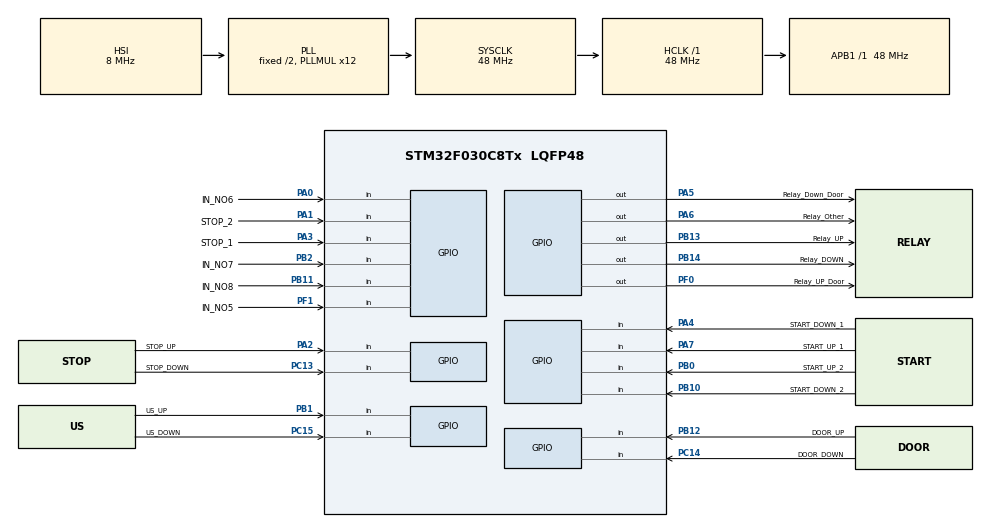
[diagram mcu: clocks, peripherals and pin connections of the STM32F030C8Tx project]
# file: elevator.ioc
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IWDG.Prescaler=IWDG_PRESCALER_256
Mcu.Family=STM32F0
Mcu.Name=STM32F030C8Tx
Mcu.Package=LQFP48
NVIC.TIM3_IRQn=true\:0\:0\:false\:false\:true\:true\:true
PA0.GPIO_Label=IN_NO6
PA0.Signal=GPIO_Input
PA1.GPIO_Label=STOP_2
PA1.Signal=GPIO_Input
PA13.Mode=Serial_Wire
PA13.Signal=SYS_SWDIO
PA14.Mode=Serial_Wire
PA14.Signal=SYS_SWCLK
PA2.GPIO_Label=STOP_UP
PA2.Signal=GPIO_Input
PA3.GPIO_Label=STOP_1
PA3.Signal=GPIO_Input
PA4.GPIO_Label=START_DOWN_1
PA4.Signal=GPIO_Input
PA5.GPIO_Label=Relay_Down_Door
PA5.Signal=GPIO_Output
PA6.GPIO_Label=Relay_Other
PA6.Signal=GPIO_Output
PA7.GPIO_Label=START_UP_1
PA7.Signal=GPIO_Input
PB0.GPIO_Label=START_UP_2
PB0.Signal=GPIO_Input
PB1.GPIO_Label=US_UP
PB1.Signal=GPIO_Input
PB10.GPIO_Label=START_DOWN_2
PB10.Signal=GPIO_Input
PB11.GPIO_Label=IN_NO8
PB11.Signal=GPIO_Input
PB12.GPIO_Label=DOOR_UP
PB12.Signal=GPIO_Input
PB13.GPIO_Label=Relay_UP
PB13.Signal=GPIO_Output
PB14.GPIO_Label=Relay_DOWN
PB14.Signal=GPIO_Output
PB2.GPIO_Label=IN_NO7
PB2.Signal=GPIO_Input
PC13.GPIO_Label=STOP_DOWN
PC13.Signal=GPIO_Input
PC14-OSC32_IN.GPIO_Label=DOOR_DOWN
PC14-OSC32_IN.Signal=GPIO_Input
PC15-OSC32_OUT.GPIO_Label=US_DOWN
PC15-OSC32_OUT.Signal=GPIO_Input
PF0-OSC_IN.GPIO_Label=Relay_UP_Door
PF0-OSC_IN.Signal=GPIO_Output
PF1-OSC_OUT.GPIO_Label=IN_NO5
PF1-OSC_OUT.Signal=GPIO_Input
ProjectManager.HeapSize=0x200
ProjectManager.StackSize=0x400
ProjectManager.TargetToolchain=MDK-ARM V5.27
RCC.AHBFreq_Value=48000000
RCC.APB1Freq_Value=48000000
RCC.APB1TimFreq_Value=48000000
RCC.HCLKFreq_Value=48000000
RCC.PLLMUL=RCC_PLL_MUL12
RCC.SYSCLKFreq_VALUE=48000000
RCC.SYSCLKSource=RCC_SYSCLKSOURCE_PLLCLK
TIM3.AutoReloadPreload=TIM_AUTORELOAD_PRELOAD_ENABLE
TIM3.Period=48-1
TIM3.Prescaler=1000-1
VP_IWDG_VS_IWDG.Mode=IWDG_Activate
VP_TIM3_VS_ClockSourceINT.Mode=Internal
board=custom

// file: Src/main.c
/* USER CODE BEGIN Header */
/**
  ******************************************************************************
  * @file           : main.c
  * @brief          : Main program body
  ******************************************************************************
  * @attention
  *
  * <h2><center>&copy; Copyright (c) 2021 STMicroelectronics.
  * All rights reserved.</center></h2>
  *
  * This software component is licensed by ST under BSD 3-Clause license,
  * the "License"; You may not use this file except in compliance with the
  * License. You may obtain a copy of the License at:
  *                        opensource.org/licenses/BSD-3-Clause
  *
  ******************************************************************************
  */
/* USER CODE END Header */
#include "main.h"
/* USER CODE BEGIN Includes */
#include "stdbool.h"
#include "Elevator.h"
/* USER CODE END Includes */

IWDG_HandleTypeDef hiwdg;

TIM_HandleTypeDef htim3;

void SystemClock_Config(void);
static void MX_GPIO_Init(void);
static void MX_IWDG_Init(void);
static void MX_TIM3_Init(void);
/* USER CODE BEGIN PFP */

void HAL_TIM_PeriodElapsedCallback(TIM_HandleTypeDef *htim)
{
	if (htim->Instance == TIM3)
	{
		CheckMicroSwitch();
		CheckKey();
	}
}

/* USER CODE END PFP */

int main(void)
{

  /* MCU Configuration--------------------------------------------------------*/

  /* Reset of all peripherals, Initializes the Flash interface and the Systick. */
  HAL_Init();

  /* Configure the system clock */
  SystemClock_Config();

  /* Initialize all configured peripherals */
  MX_GPIO_Init();
  //MX_IWDG_Init();
  MX_TIM3_Init();
  /* USER CODE BEGIN 2 */
  relay.DOWN.state 			= Off;
	relay.DOWN_Door.state = Off;
  relay.Other.state     = Off;
  relay.UP.state        = Off;
  relay.UP_Door.state   = Off;
	direction.towardDown = false;
	direction.towardUp   = false;
  /*Configure GPIO pin Output Level */
  /*Configure GPIO pin Output Level */

  /* USER CODE END 2 */

  /* Infinite loop */
  /* USER CODE BEGIN WHILE */
  while (1)
  {
	 // HAL_IWDG_Refresh(&hiwdg);
		StartOperation();
  	RelayManagement();
    /* USER CODE END WHILE */

  }
}

void SystemClock_Config(void)
{
  RCC_OscInitTypeDef RCC_OscInitStruct = {0};
  RCC_ClkInitTypeDef RCC_ClkInitStruct = {0};

  /** Initializes the RCC Oscillators according to the specified parameters
  * in the RCC_OscInitTypeDef structure.
  */
  RCC_OscInitStruct.OscillatorType = RCC_OSCILLATORTYPE_HSI|RCC_OSCILLATORTYPE_LSI;
  RCC_OscInitStruct.HSIState = RCC_HSI_ON;
  RCC_OscInitStruct.HSICalibrationValue = RCC_HSICALIBRATION_DEFAULT;
  RCC_OscInitStruct.LSIState = RCC_LSI_ON;
  RCC_OscInitStruct.PLL.PLLState = RCC_PLL_ON;
  RCC_OscInitStruct.PLL.PLLSource = RCC_PLLSOURCE_HSI;
  RCC_OscInitStruct.PLL.PLLMUL = RCC_PLL_MUL12;
  RCC_OscInitStruct.PLL.PREDIV = RCC_PREDIV_DIV1;
  if (HAL_RCC_OscConfig(&RCC_OscInitStruct) != HAL_OK)
  {
    Error_Handler();
  }
  /** Initializes the CPU, AHB and APB buses clocks
  */
  RCC_ClkInitStruct.ClockType = RCC_CLOCKTYPE_HCLK|RCC_CLOCKTYPE_SYSCLK
                              |RCC_CLOCKTYPE_PCLK1;
  RCC_ClkInitStruct.SYSCLKSource = RCC_SYSCLKSOURCE_PLLCLK;
  RCC_ClkInitStruct.AHBCLKDivider = RCC_SYSCLK_DIV1;
  RCC_ClkInitStruct.APB1CLKDivider = RCC_HCLK_DIV1;

  if (HAL_RCC_ClockConfig(&RCC_ClkInitStruct, FLASH_LATENCY_1) != HAL_OK)
  {
    Error_Handler();
  }
}

static void MX_IWDG_Init(void)
{

  hiwdg.Instance = IWDG;
  hiwdg.Init.Prescaler = IWDG_PRESCALER_256;
  hiwdg.Init.Window = 4095;
  hiwdg.Init.Reload = 4095;
  if (HAL_IWDG_Init(&hiwdg) != HAL_OK)
  {
    Error_Handler();
  }

}

static void MX_TIM3_Init(void)
{

  TIM_ClockConfigTypeDef sClockSourceConfig = {0};
  TIM_MasterConfigTypeDef sMasterConfig = {0};

  htim3.Instance = TIM3;
  htim3.Init.Prescaler = 1000-1;
  htim3.Init.CounterMode = TIM_COUNTERMODE_UP;
  htim3.Init.Period = 48-1;
  htim3.Init.ClockDivision = TIM_CLOCKDIVISION_DIV1;
  htim3.Init.AutoReloadPreload = TIM_AUTORELOAD_PRELOAD_ENABLE;
  if (HAL_TIM_Base_Init(&htim3) != HAL_OK)
  {
    Error_Handler();
  }
  sClockSourceConfig.ClockSource = TIM_CLOCKSOURCE_INTERNAL;
  if (HAL_TIM_ConfigClockSource(&htim3, &sClockSourceConfig) != HAL_OK)
  {
    Error_Handler();
  }
  sMasterConfig.MasterOutputTrigger = TIM_TRGO_RESET;
  sMasterConfig.MasterSlaveMode = TIM_MASTERSLAVEMODE_DISABLE;
  if (HAL_TIMEx_MasterConfigSynchronization(&htim3, &sMasterConfig) != HAL_OK)
  {
    Error_Handler();
  }
  /* USER CODE BEGIN TIM3_Init 2 */

  HAL_TIM_Base_Start_IT(&htim3);

  /* USER CODE END TIM3_Init 2 */

}

static void MX_GPIO_Init(void)
{
  GPIO_InitTypeDef GPIO_InitStruct = {0};

  /* GPIO Ports Clock Enable */
  __HAL_RCC_GPIOC_CLK_ENABLE();
  __HAL_RCC_GPIOF_CLK_ENABLE();
  __HAL_RCC_GPIOA_CLK_ENABLE();
  __HAL_RCC_GPIOB_CLK_ENABLE();

  /*Configure GPIO pin Output Level */
  HAL_GPIO_WritePin(Relay_UP_Door_GPIO_Port, Relay_UP_Door_Pin, GPIO_PIN_RESET);

  /*Configure GPIO pin Output Level */
  HAL_GPIO_WritePin(GPIOA, Relay_Down_Door_Pin|Relay_Other_Pin, GPIO_PIN_RESET);

  /*Configure GPIO pin Output Level */
  HAL_GPIO_WritePin(GPIOB, Relay_UP_Pin|Relay_DOWN_Pin, GPIO_PIN_RESET);

  /*Configure GPIO pins : STOP_DOWN_Pin DOOR_DOWN_Pin US_DOWN_Pin */
  GPIO_InitStruct.Pin = STOP_DOWN_Pin|DOOR_DOWN_Pin|US_DOWN_Pin;
  GPIO_InitStruct.Mode = GPIO_MODE_INPUT;
  GPIO_InitStruct.Pull = GPIO_NOPULL;
  HAL_GPIO_Init(GPIOC, &GPIO_InitStruct);

  /*Configure GPIO pin : Relay_UP_Door_Pin */
  GPIO_InitStruct.Pin = Relay_UP_Door_Pin;
  GPIO_InitStruct.Mode = GPIO_MODE_OUTPUT_PP;
  GPIO_InitStruct.Pull = GPIO_NOPULL;
  GPIO_InitStruct.Speed = GPIO_SPEED_FREQ_LOW;
  HAL_GPIO_Init(Relay_UP_Door_GPIO_Port, &GPIO_InitStruct);

  /*Configure GPIO pin : IN_NO5_Pin */
  GPIO_InitStruct.Pin = IN_NO5_Pin;
  GPIO_InitStruct.Mode = GPIO_MODE_INPUT;
  GPIO_InitStruct.Pull = GPIO_NOPULL;
  HAL_GPIO_Init(IN_NO5_GPIO_Port, &GPIO_InitStruct);

  /*Configure GPIO pins : IN_NO6_Pin STOP_2_Pin STOP_UP_Pin STOP_1_Pin
                           START_DOWN_1_Pin START_UP_1_Pin */
  GPIO_InitStruct.Pin = IN_NO6_Pin|STOP_2_Pin|STOP_UP_Pin|STOP_1_Pin
                          |START_DOWN_1_Pin|START_UP_1_Pin;
  GPIO_InitStruct.Mode = GPIO_MODE_INPUT;
  GPIO_InitStruct.Pull = GPIO_NOPULL;
  HAL_GPIO_Init(GPIOA, &GPIO_InitStruct);

  /*Configure GPIO pins : Relay_Down_Door_Pin Relay_Other_Pin */
  GPIO_InitStruct.Pin = Relay_Down_Door_Pin|Relay_Other_Pin;
  GPIO_InitStruct.Mode = GPIO_MODE_OUTPUT_PP;
  GPIO_InitStruct.Pull = GPIO_NOPULL;
  GPIO_InitStruct.Speed = GPIO_SPEED_FREQ_LOW;
  HAL_GPIO_Init(GPIOA, &GPIO_InitStruct);

  /*Configure GPIO pins : START_UP_2_Pin US_UP_Pin IN_NO7_Pin START_DOWN_2_Pin
                           IN_NO8_Pin DOOR_UP_Pin */
  GPIO_InitStruct.Pin = START_UP_2_Pin|US_UP_Pin|IN_NO7_Pin|START_DOWN_2_Pin
                          |IN_NO8_Pin|DOOR_UP_Pin;
  GPIO_InitStruct.Mode = GPIO_MODE_INPUT;
  GPIO_InitStruct.Pull = GPIO_NOPULL;
  HAL_GPIO_Init(GPIOB, &GPIO_InitStruct);

  /*Configure GPIO pins : Relay_UP_Pin Relay_DOWN_Pin */
  GPIO_InitStruct.Pin = Relay_UP_Pin|Relay_DOWN_Pin;
  GPIO_InitStruct.Mode = GPIO_MODE_OUTPUT_PP;
  GPIO_InitStruct.Pull = GPIO_NOPULL;
  GPIO_InitStruct.Speed = GPIO_SPEED_FREQ_LOW;
  HAL_GPIO_Init(GPIOB, &GPIO_InitStruct);

}

void Error_Handler(void)
{
  __disable_irq();
  while (1)
  {
  }
}
